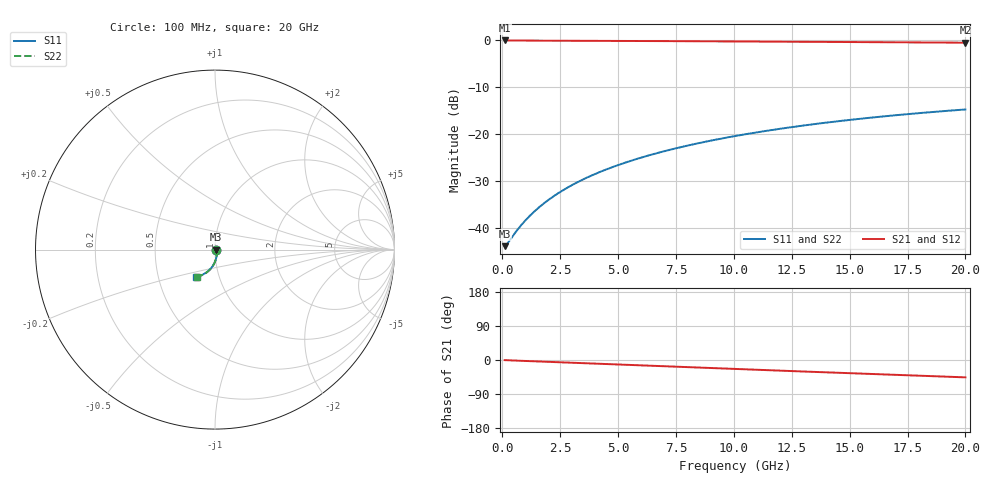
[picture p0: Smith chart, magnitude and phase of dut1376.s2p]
! Touchstone file exported from HFSS 2026.1.0
!  File:  C:/ffzhzh/LocalFiles/Ansys_Project_Files/temp_train_BSMRDL_1376_1783179463_22436.aedt
!  Generated:  11:39:05 PM Jul  4, 2026
!  Design:  BSMRDL
!  Project:  temp_train_BSMRDL_1376_1783179463_22436
! Variables:
!  h_bsmrdl = 3.4um
!  h_ox = 20um
!  h_rdl = 5um
!  h_sub = 80um
!  h_tmrdl = 5um
!  h_tsv = 80um
!  h_via = 3um
!  l_bsmrdl = 796.89um
!  l_sub = 1196.89um
!  l_tmrdl = 200um
!  m_sub = 200um
!  pitch = 14.95um
!  r_tsv = 6um
!  s_tmrdl = 10um
!  w_bsmrdl = 13.31um
!  w_sub = 500um
!  w_tmrdl = 12um
!  x_tsv_center1 = 206um
!  x_tsv_center2 = 1016.2um
!  x_tsv_center3 = 1228.2um
!  x_tsv_center4 = 2038.4um
!  x_tsv_center5 = 2250.4um
!  x_tsv_center6 = 3060.6um
# GHz S MA R 50.000000
! Terminal data exported
! Port[1] = BSM_RDL1_1_T1
! Port[2] = BSM_RDL1_1_T2
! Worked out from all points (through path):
!   200 points, 100 MHz to 20 GHz, reference 50 ohm
!   highest |S21| = -0.06 dB at 100 MHz (marker M1); lowest = -0.5 dB at 20 GHz (marker M2)
!   group delay of S21, straight-line fit = 6.34 ps
!   lowest |S11| = -43.9 dB at 100 MHz (marker M3), VSWR 1.01, Z = 50.6 - j0.00573 ohm
!   |S11| at or under -10 dB: start of sweep to end of sweep
!   |S22| runs from -43.9 to -14.8 dB; largest |S21 - S12| = 5.1e-15
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0.1  0.00636 -0.5  0.9936 -0.3  0.9936 -0.3  0.00636 -0.5
! Gamma 0 0 0 0
! Port Impedance 50 0 50 0
0.2  0.006703 -1.8  0.9932 -0.6  0.9932 -0.6  0.006704 -1.8
0.6  0.009136 -15.9  0.9908 -1.6  0.9908 -1.6  0.009139 -15.9
0.9  0.01126 -28.3  0.9896 -2.3  0.9896 -2.3  0.01127 -28.3
1.2  0.01349 -38.6  0.9888 -3.0  0.9888 -3.0  0.0135 -38.6
1.6  0.0166 -49.0  0.9881 -4.0  0.9881 -4.0  0.01661 -48.9
2  0.01986 -56.6  0.9875 -4.9  0.9875 -4.9  0.01987 -56.5
2.5  0.02407 -63.6  0.9868 -6.1  0.9868 -6.1  0.02409 -63.5
3  0.02841 -68.8  0.9861 -7.3  0.9861 -7.3  0.02844 -68.7
3.5  0.03285 -72.9  0.9853 -8.5  0.9853 -8.5  0.03288 -72.7
4.2  0.03918 -77.4  0.984 -10.1  0.984 -10.1  0.03922 -77.2
5  0.04657 -81.5  0.9825 -12.0  0.9825 -12.0  0.04662 -81.3
5.9  0.05503 -85.3  0.9805 -14.1  0.9805 -14.1  0.05509 -85.1
6.8  0.06361 -88.7  0.9785 -16.2  0.9785 -16.2  0.06368 -88.4
7.6  0.07131 -91.4  0.9765 -18.1  0.9765 -18.1  0.07138 -91.1
8.4  0.07904 -93.9  0.9744 -19.9  0.9744 -19.9  0.07913 -93.6
10.1  0.09547 -99.0  0.9699 -23.8  0.9699 -23.8  0.09559 -98.6
11.7  0.1108 -103.4  0.9654 -27.4  0.9654 -27.4  0.1109 -103.0
13.4  0.1267 -108.0  0.9605 -31.2  0.9605 -31.2  0.1269 -107.5
15  0.1412 -112.2  0.9558 -34.8  0.9558 -34.8  0.1414 -111.6
16.7  0.156 -116.5  0.9507 -38.6  0.9507 -38.6  0.1562 -115.9
20  0.1825 -124.6  0.9408 -45.8  0.9408 -45.8  0.1828 -123.8
